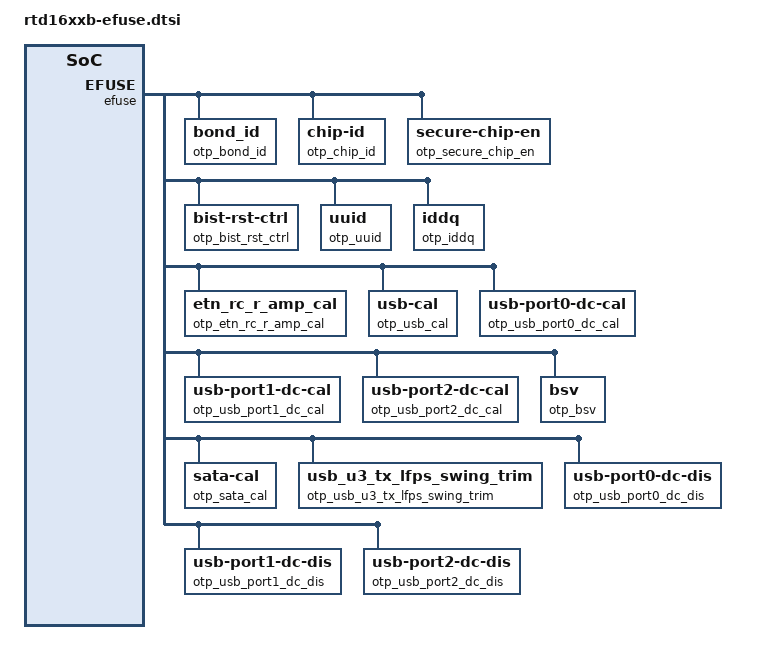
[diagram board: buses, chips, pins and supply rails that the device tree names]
// SPDX-License-Identifier: GPL-2.0
/* Copyright (C) 2020 Realtek Semiconductor Corporation
 */
&efuse {
	otp_bond_id: bond_id@3c8,0 {
		reg = <0x3c8 0x4>;
	};
	otp_chip_id: chip-id@3cc,0 {
		reg = <0x3cc 0x10>;
	};
	otp_secure_chip_en: secure-chip-en@3fd,2 {
		reg = <0x3fd 0x1>;
		bits = <2 3>;
	};
	otp_bist_rst_ctrl: bist-rst-ctrl@406,5 {
		reg = <0x406 0x1>;
		bits = <5 2>;
	};
	otp_uuid: uuid@478,0 {
		reg = <0x478 0xc>;
	};
	otp_iddq: iddq@4f8,0 {
		reg = <0x4f8 0x2>;
	};
	otp_etn_rc_r_amp_cal: etn_rc_r_amp_cal@504,0 {
		reg = <0x504 0x8>;
	};
	otp_usb_cal: usb-cal@528,0 {
		reg = <0x528 0xa>;
		bits = <0 77>;
	};
	otp_usb_port0_dc_cal: usb-port0-dc-cal@534,0 {
		reg = <0x534 0x1>;
		bits = <0 4>;
	};
	otp_usb_port1_dc_cal: usb-port1-dc-cal@534,4 {
		reg = <0x534 0x1>;
		bits = <4 4>;
	};
	otp_usb_port2_dc_cal: usb-port2-dc-cal@535,0 {
		reg = <0x535 0x1>;
		bits = <0 4>;
	};
	otp_bsv: bsv@adc,0 {
		reg = <0xadc 0x4>;
	};
	otp_sata_cal: sata-cal@a14,0 {
		reg = <0xa14 0x4>;
	};
	otp_usb_u3_tx_lfps_swing_trim: usb_u3_tx_lfps_swing_trim@a18,0 {
		reg = <0xa18 0x1>;
		bits = <0 4>;
	};
	otp_usb_port0_dc_dis: usb-port0-dc-dis@ae1,0 {
		reg = <0xae1 0x1>;
		bits = <0 4>;
	};
	otp_usb_port1_dc_dis: usb-port1-dc-dis@ae1,4 {
		reg = <0xae1 0x1>;
		bits = <4 4>;
	};
	otp_usb_port2_dc_dis: usb-port2-dc-dis@ae2,0 {
		reg = <0xae2 0x1>;
		bits = <0 4>;
	};
};
